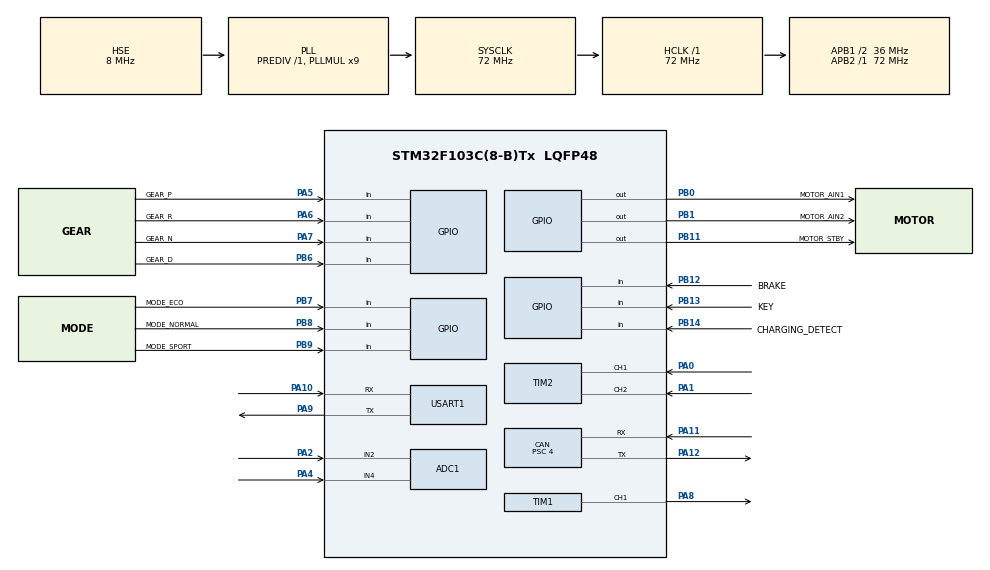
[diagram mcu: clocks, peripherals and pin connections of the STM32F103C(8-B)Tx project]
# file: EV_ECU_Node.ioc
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ADC1.Channel-0\#ChannelRegularConversion=ADC_CHANNEL_4
ADC1.Channel-1\#ChannelRegularConversion=ADC_CHANNEL_2
ADC1.ContinuousConvMode=ENABLE
ADC1.NbrOfConversion=2
ADC1.NbrOfConversionFlag=1
ADC1.Rank-0\#ChannelRegularConversion=1
ADC1.Rank-1\#ChannelRegularConversion=2
ADC1.SamplingTime-0\#ChannelRegularConversion=ADC_SAMPLETIME_71CYCLES_5
ADC1.SamplingTime-1\#ChannelRegularConversion=ADC_SAMPLETIME_71CYCLES_5
ADC1.master=1
CAN.BS1=CAN_BS1_15TQ
CAN.BS2=CAN_BS2_2TQ
CAN.CalculateBaudRate=500000
CAN.CalculateTimeBit=2000
CAN.CalculateTimeQuantum=111.11111111111111
CAN.Prescaler=4
Dma.ADC1.0.Direction=DMA_PERIPH_TO_MEMORY
Dma.ADC1.0.Instance=DMA1_Channel1
Dma.ADC1.0.MemDataAlignment=DMA_MDATAALIGN_HALFWORD
Dma.ADC1.0.MemInc=DMA_MINC_ENABLE
Dma.ADC1.0.Mode=DMA_CIRCULAR
Dma.ADC1.0.PeriphDataAlignment=DMA_PDATAALIGN_HALFWORD
Dma.ADC1.0.PeriphInc=DMA_PINC_DISABLE
Dma.ADC1.0.Priority=DMA_PRIORITY_LOW
Dma.Request0=ADC1
FREERTOS.Tasks01=defaultTask,24,128,StartDefaultTask,Default,NULL,Dynamic,NULL,NULL
FREERTOS.configCHECK_FOR_STACK_OVERFLOW=2
FREERTOS.configTOTAL_HEAP_SIZE=10240
FREERTOS.configUSE_NEWLIB_REENTRANT=1
Mcu.Family=STM32F1
Mcu.Name=STM32F103C(8-B)Tx
Mcu.Package=LQFP48
NVIC.DMA1_Channel1_IRQn=true\:5\:0\:false\:false\:true\:true\:false\:true\:true
NVIC.PriorityGroup=NVIC_PRIORITYGROUP_4
NVIC.TIM3_IRQn=true\:15\:0\:false\:false\:true\:false\:false\:true\:true
NVIC.TimeBase=TIM3_IRQn
NVIC.TimeBaseIP=TIM3
NVIC.USB_HP_CAN1_TX_IRQn=true\:5\:0\:false\:false\:true\:true\:true\:true\:true
NVIC.USB_LP_CAN1_RX0_IRQn=true\:5\:0\:false\:false\:true\:true\:true\:true\:true
PA0-WKUP.Signal=S_TIM2_CH1_ETR
PA1.Signal=S_TIM2_CH2
PA10.Mode=Asynchronous
PA10.Signal=USART1_RX
PA11.Mode=CAN_Activate
PA11.Signal=CAN_RX
PA12.Mode=CAN_Activate
PA12.Signal=CAN_TX
PA13.Mode=Serial_Wire
PA13.Signal=SYS_JTMS-SWDIO
PA14.Mode=Serial_Wire
PA14.Signal=SYS_JTCK-SWCLK
PA2.Signal=ADCx_IN2
PA4.Signal=ADCx_IN4
PA5.GPIO_Label=GEAR_P
PA5.GPIO_PuPd=GPIO_PULLUP
PA5.Signal=GPIO_Input
PA6.GPIO_Label=GEAR_R
PA6.GPIO_PuPd=GPIO_PULLUP
PA6.Signal=GPIO_Input
PA7.GPIO_Label=GEAR_N
PA7.GPIO_PuPd=GPIO_PULLUP
PA7.Signal=GPIO_Input
PA8.Signal=S_TIM1_CH1
PA9.Mode=Asynchronous
PA9.Signal=USART1_TX
PB0.GPIO_Label=MOTOR_AIN1
PB0.Signal=GPIO_Output
PB1.GPIO_Label=MOTOR_AIN2
PB1.Signal=GPIO_Output
PB11.GPIO_Label=MOTOR_STBY
PB11.Signal=GPIO_Output
PB12.GPIO_Label=BRAKE
PB12.GPIO_PuPd=GPIO_PULLUP
PB12.Signal=GPIO_Input
PB13.GPIO_Label=KEY
PB13.GPIO_PuPd=GPIO_PULLUP
PB13.Signal=GPIO_Input
PB14.GPIO_Label=CHARGING_DETECT
PB14.GPIO_PuPd=GPIO_PULLUP
PB14.Signal=GPIO_Input
PB6.GPIO_Label=GEAR_D
PB6.GPIO_PuPd=GPIO_PULLUP
PB6.Signal=GPIO_Input
PB7.GPIO_Label=MODE_ECO
PB7.GPIO_PuPd=GPIO_PULLUP
PB7.Signal=GPIO_Input
PB8.GPIO_Label=MODE_NORMAL
PB8.GPIO_PuPd=GPIO_PULLUP
PB8.Signal=GPIO_Input
PB9.GPIO_Label=MODE_SPORT
PB9.GPIO_PuPd=GPIO_PULLUP
PB9.Signal=GPIO_Input
PD0-OSC_IN.Mode=HSE-External-Oscillator
PD0-OSC_IN.Signal=RCC_OSC_IN
PD1-OSC_OUT.Mode=HSE-External-Oscillator
PD1-OSC_OUT.Signal=RCC_OSC_OUT
ProjectManager.HeapSize=0x200
ProjectManager.StackSize=0x400
ProjectManager.TargetToolchain=STM32CubeIDE
RCC.ADCPresc=RCC_ADCPCLK2_DIV6
RCC.AHBFreq_Value=72000000
RCC.APB1CLKDivider=RCC_HCLK_DIV2
RCC.APB1Freq_Value=36000000
RCC.APB1TimFreq_Value=72000000
RCC.APB2Freq_Value=72000000
RCC.APB2TimFreq_Value=72000000
RCC.HCLKFreq_Value=72000000
RCC.PLLMUL=RCC_PLL_MUL9
RCC.PLLSourceVirtual=RCC_PLLSOURCE_HSE
RCC.SYSCLKFreq_VALUE=72000000
RCC.SYSCLKSource=RCC_SYSCLKSOURCE_PLLCLK
RCC.USBFreq_Value=72000000
SH.ADCx_IN2.0=ADC1_IN2,IN2
SH.ADCx_IN4.0=ADC1_IN4,IN4
SH.S_TIM1_CH1.0=TIM1_CH1,PWM Generation1 CH1
SH.S_TIM2_CH1_ETR.0=TIM2_CH1,Encoder_Interface
SH.S_TIM2_CH2.0=TIM2_CH2,Encoder_Interface
TIM1.Channel-PWM\ Generation1\ CH1=TIM_CHANNEL_1
TIM1.Period=999
TIM1.Prescaler=71
TIM2.EncoderMode=TIM_ENCODERMODE_TI12
TIM2.IC1Filter=4
TIM2.IC2Filter=4
USART1.VirtualMode=VM_ASYNC
VP_FREERTOS_VS_CMSIS_V2.Mode=CMSIS_V2
VP_SYS_VS_tim3.Mode=TIM3
VP_TIM1_VS_ClockSourceINT.Mode=Internal
board=custom

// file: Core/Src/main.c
/* USER CODE BEGIN Header */
/**
  ******************************************************************************
  * @file           : main.c
  * @brief          : Main program body
  *********************************************
  *********************************
  * @attention
  *
  * Copyright (c) 2026 STMicroelectronics.
  * All rights reserved.
  *
  * This software is licensed under terms that can be found in the LICENSE file
  * in the root directory of this software component.
  * If no LICENSE file comes with this software, it is provided AS-IS.
  *
  ******************************************************************************
  */
/* USER CODE END Header */
#include "main.h"
#include "cmsis_os.h"

/* USER CODE BEGIN Includes */
#include <string.h>
#include <stdio.h>
#include "app_config.h"
#include "input_manager.h"
#include "motor_control.h"
#include "battery_manager.h"
#include "can_handler.h"
#include "ecu_data.h"
/* USER CODE END Includes */

ADC_HandleTypeDef hadc1;
DMA_HandleTypeDef hdma_adc1;

CAN_HandleTypeDef hcan;

TIM_HandleTypeDef htim1;
TIM_HandleTypeDef htim2;

UART_HandleTypeDef huart1;

/* Definitions for defaultTask */
osThreadId_t defaultTaskHandle;
const osThreadAttr_t defaultTask_attributes = {
  .name = "defaultTask",
  .stack_size = 512 * 4,
  .priority = (osPriority_t) osPriorityNormal,
};

void SystemClock_Config(void);
static void MX_GPIO_Init(void);
static void MX_DMA_Init(void);
static void MX_ADC1_Init(void);
static void MX_USART1_UART_Init(void);
static void MX_CAN_Init(void);
static void MX_TIM1_Init(void);
static void MX_TIM2_Init(void);
void StartDefaultTask(void *argument);

/* USER CODE BEGIN PFP */
void App_Init(void);
/* USER CODE END PFP */

int main(void)
{

  /* MCU Configuration--------------------------------------------------------*/

  /* Reset of all peripherals, Initializes the Flash interface and the Systick. */
  HAL_Init();

  /* Configure the system clock */
  SystemClock_Config();

  /* Initialize all configured peripherals */
  MX_GPIO_Init();
  MX_DMA_Init();
  MX_ADC1_Init();
  MX_USART1_UART_Init();
  MX_CAN_Init();
  MX_TIM1_Init();
  MX_TIM2_Init();
  /* USER CODE BEGIN 2 */
  /* Clear Debug Freeze bit — cho phép CAN hoạt động khi debugger connected
   * DBF=1 (default khi debug) sẽ freeze CAN peripheral → HAL_CAN_Start fail */
  CAN1->MCR &= ~CAN_MCR_DBF;
  HAL_Delay(10);

  if (HAL_CAN_Start(&hcan) == HAL_OK)
  {
      HAL_UART_Transmit(&huart1,
          (uint8_t*)"[CAN] Start OK\r\n", 16, 100);
  }
  else
  {
      HAL_UART_Transmit(&huart1,
          (uint8_t*)"[CAN] Start FAILED\r\n", 20, 100);
  }
  /* USER CODE END 2 */

  /* Init scheduler */
  osKernelInitialize();

  /* Create the thread(s) */
  /* creation of defaultTask */
  defaultTaskHandle = osThreadNew(StartDefaultTask, NULL, &defaultTask_attributes);

  /* Start scheduler */
  osKernelStart();

  /* We should never get here as control is now taken by the scheduler */

  /* Infinite loop */
  while (1)
  {

  }
}

void SystemClock_Config(void)
{
  RCC_OscInitTypeDef RCC_OscInitStruct = {0};
  RCC_ClkInitTypeDef RCC_ClkInitStruct = {0};
  RCC_PeriphCLKInitTypeDef PeriphClkInit = {0};

  /** Initializes the RCC Oscillators according to the specified parameters
  * in the RCC_OscInitTypeDef structure.
  */
  RCC_OscInitStruct.OscillatorType = RCC_OSCILLATORTYPE_HSE;
  RCC_OscInitStruct.HSEState = RCC_HSE_ON;
  RCC_OscInitStruct.HSEPredivValue = RCC_HSE_PREDIV_DIV1;
  RCC_OscInitStruct.HSIState = RCC_HSI_ON;
  RCC_OscInitStruct.PLL.PLLState = RCC_PLL_ON;
  RCC_OscInitStruct.PLL.PLLSource = RCC_PLLSOURCE_HSE;
  RCC_OscInitStruct.PLL.PLLMUL = RCC_PLL_MUL9;
  if (HAL_RCC_OscConfig(&RCC_OscInitStruct) != HAL_OK)
  {
    Error_Handler();
  }

  /** Initializes the CPU, AHB and APB buses clocks
  */
  RCC_ClkInitStruct.ClockType = RCC_CLOCKTYPE_HCLK|RCC_CLOCKTYPE_SYSCLK
                              |RCC_CLOCKTYPE_PCLK1|RCC_CLOCKTYPE_PCLK2;
  RCC_ClkInitStruct.SYSCLKSource = RCC_SYSCLKSOURCE_PLLCLK;
  RCC_ClkInitStruct.AHBCLKDivider = RCC_SYSCLK_DIV1;
  RCC_ClkInitStruct.APB1CLKDivider = RCC_HCLK_DIV2;
  RCC_ClkInitStruct.APB2CLKDivider = RCC_HCLK_DIV1;

  if (HAL_RCC_ClockConfig(&RCC_ClkInitStruct, FLASH_LATENCY_2) != HAL_OK)
  {
    Error_Handler();
  }
  PeriphClkInit.PeriphClockSelection = RCC_PERIPHCLK_ADC;
  PeriphClkInit.AdcClockSelection = RCC_ADCPCLK2_DIV6;
  if (HAL_RCCEx_PeriphCLKConfig(&PeriphClkInit) != HAL_OK)
  {
    Error_Handler();
  }
}

static void MX_ADC1_Init(void)
{

  ADC_ChannelConfTypeDef sConfig = {0};

  /** Common config
  */
  hadc1.Instance = ADC1;
  hadc1.Init.ScanConvMode = ADC_SCAN_ENABLE;
  hadc1.Init.ContinuousConvMode = ENABLE;
  hadc1.Init.DiscontinuousConvMode = DISABLE;
  hadc1.Init.ExternalTrigConv = ADC_SOFTWARE_START;
  hadc1.Init.DataAlign = ADC_DATAALIGN_RIGHT;
  hadc1.Init.NbrOfConversion = 2;
  if (HAL_ADC_Init(&hadc1) != HAL_OK)
  {
    Error_Handler();
  }

  /** Configure Regular Channel
  */
  sConfig.Channel = ADC_CHANNEL_4;
  sConfig.Rank = ADC_REGULAR_RANK_1;
  sConfig.SamplingTime = ADC_SAMPLETIME_71CYCLES_5;
  if (HAL_ADC_ConfigChannel(&hadc1, &sConfig) != HAL_OK)
  {
    Error_Handler();
  }

  /** Configure Regular Channel
  */
  sConfig.Channel = ADC_CHANNEL_2;
  sConfig.Rank = ADC_REGULAR_RANK_2;
  if (HAL_ADC_ConfigChannel(&hadc1, &sConfig) != HAL_OK)
  {
    Error_Handler();
  }

}

static void MX_CAN_Init(void)
{

  hcan.Instance = CAN1;
  hcan.Init.Prescaler = 4;
  hcan.Init.Mode = CAN_MODE_NORMAL;
  hcan.Init.SyncJumpWidth = CAN_SJW_1TQ;
  hcan.Init.TimeSeg1 = CAN_BS1_15TQ;
  hcan.Init.TimeSeg2 = CAN_BS2_2TQ;
  hcan.Init.TimeTriggeredMode = DISABLE;
  hcan.Init.AutoBusOff = ENABLE;
  hcan.Init.AutoWakeUp = DISABLE;
  hcan.Init.AutoRetransmission = ENABLE;
  hcan.Init.ReceiveFifoLocked = DISABLE;
  hcan.Init.TransmitFifoPriority = DISABLE;
  if (HAL_CAN_Init(&hcan) != HAL_OK)
  {
    Error_Handler();
  }

}

static void MX_TIM1_Init(void)
{

  TIM_ClockConfigTypeDef sClockSourceConfig = {0};
  TIM_MasterConfigTypeDef sMasterConfig = {0};
  TIM_OC_InitTypeDef sConfigOC = {0};
  TIM_BreakDeadTimeConfigTypeDef sBreakDeadTimeConfig = {0};

  htim1.Instance = TIM1;
  htim1.Init.Prescaler = 71;
  htim1.Init.CounterMode = TIM_COUNTERMODE_UP;
  htim1.Init.Period = 999;
  htim1.Init.ClockDivision = TIM_CLOCKDIVISION_DIV1;
  htim1.Init.RepetitionCounter = 0;
  htim1.Init.AutoReloadPreload = TIM_AUTORELOAD_PRELOAD_DISABLE;
  if (HAL_TIM_Base_Init(&htim1) != HAL_OK)
  {
    Error_Handler();
  }
  sClockSourceConfig.ClockSource = TIM_CLOCKSOURCE_INTERNAL;
  if (HAL_TIM_ConfigClockSource(&htim1, &sClockSourceConfig) != HAL_OK)
  {
    Error_Handler();
  }
  if (HAL_TIM_PWM_Init(&htim1) != HAL_OK)
  {
    Error_Handler();
  }
  sMasterConfig.MasterOutputTrigger = TIM_TRGO_RESET;
  sMasterConfig.MasterSlaveMode = TIM_MASTERSLAVEMODE_DISABLE;
  if (HAL_TIMEx_MasterConfigSynchronization(&htim1, &sMasterConfig) != HAL_OK)
  {
    Error_Handler();
  }
  sConfigOC.OCMode = TIM_OCMODE_PWM1;
  sConfigOC.Pulse = 0;
  sConfigOC.OCPolarity = TIM_OCPOLARITY_HIGH;
  sConfigOC.OCNPolarity = TIM_OCNPOLARITY_HIGH;
  sConfigOC.OCFastMode = TIM_OCFAST_DISABLE;
  sConfigOC.OCIdleState = TIM_OCIDLESTATE_RESET;
  sConfigOC.OCNIdleState = TIM_OCNIDLESTATE_RESET;
  if (HAL_TIM_PWM_ConfigChannel(&htim1, &sConfigOC, TIM_CHANNEL_1) != HAL_OK)
  {
    Error_Handler();
  }
  sBreakDeadTimeConfig.OffStateRunMode = TIM_OSSR_DISABLE;
  sBreakDeadTimeConfig.OffStateIDLEMode = TIM_OSSI_DISABLE;
  sBreakDeadTimeConfig.LockLevel = TIM_LOCKLEVEL_OFF;
  sBreakDeadTimeConfig.DeadTime = 0;
  sBreakDeadTimeConfig.BreakState = TIM_BREAK_DISABLE;
  sBreakDeadTimeConfig.BreakPolarity = TIM_BREAKPOLARITY_HIGH;
  sBreakDeadTimeConfig.AutomaticOutput = TIM_AUTOMATICOUTPUT_DISABLE;
  if (HAL_TIMEx_ConfigBreakDeadTime(&htim1, &sBreakDeadTimeConfig) != HAL_OK)
  {
    Error_Handler();
  }
  HAL_TIM_MspPostInit(&htim1);

}

static void MX_TIM2_Init(void)
{

  TIM_Encoder_InitTypeDef sConfig = {0};
  TIM_MasterConfigTypeDef sMasterConfig = {0};

  htim2.Instance = TIM2;
  htim2.Init.Prescaler = 0;
  htim2.Init.CounterMode = TIM_COUNTERMODE_UP;
  htim2.Init.Period = 65535;
  htim2.Init.ClockDivision = TIM_CLOCKDIVISION_DIV1;
  htim2.Init.AutoReloadPreload = TIM_AUTORELOAD_PRELOAD_DISABLE;
  sConfig.EncoderMode = TIM_ENCODERMODE_TI12;
  sConfig.IC1Polarity = TIM_ICPOLARITY_RISING;
  sConfig.IC1Selection = TIM_ICSELECTION_DIRECTTI;
  sConfig.IC1Prescaler = TIM_ICPSC_DIV1;
  sConfig.IC1Filter = 4;
  sConfig.IC2Polarity = TIM_ICPOLARITY_RISING;
  sConfig.IC2Selection = TIM_ICSELECTION_DIRECTTI;
  sConfig.IC2Prescaler = TIM_ICPSC_DIV1;
  sConfig.IC2Filter = 4;
  if (HAL_TIM_Encoder_Init(&htim2, &sConfig) != HAL_OK)
  {
    Error_Handler();
  }
  sMasterConfig.MasterOutputTrigger = TIM_TRGO_RESET;
  sMasterConfig.MasterSlaveMode = TIM_MASTERSLAVEMODE_DISABLE;
  if (HAL_TIMEx_MasterConfigSynchronization(&htim2, &sMasterConfig) != HAL_OK)
  {
    Error_Handler();
  }

}

static void MX_USART1_UART_Init(void)
{

  huart1.Instance = USART1;
  huart1.Init.BaudRate = 115200;
  huart1.Init.WordLength = UART_WORDLENGTH_8B;
  huart1.Init.StopBits = UART_STOPBITS_1;
  huart1.Init.Parity = UART_PARITY_NONE;
  huart1.Init.Mode = UART_MODE_TX_RX;
  huart1.Init.HwFlowCtl = UART_HWCONTROL_NONE;
  huart1.Init.OverSampling = UART_OVERSAMPLING_16;
  if (HAL_UART_Init(&huart1) != HAL_OK)
  {
    Error_Handler();
  }

}

static void MX_DMA_Init(void)
{

  /* DMA controller clock enable */
  __HAL_RCC_DMA1_CLK_ENABLE();

  /* DMA interrupt init */
  /* DMA1_Channel1_IRQn interrupt configuration */
  HAL_NVIC_SetPriority(DMA1_Channel1_IRQn, 5, 0);
  HAL_NVIC_EnableIRQ(DMA1_Channel1_IRQn);

}

static void MX_GPIO_Init(void)
{
  GPIO_InitTypeDef GPIO_InitStruct = {0};

  /* GPIO Ports Clock Enable */
  __HAL_RCC_GPIOD_CLK_ENABLE();
  __HAL_RCC_GPIOA_CLK_ENABLE();
  __HAL_RCC_GPIOB_CLK_ENABLE();

  /*Configure GPIO pin Output Level */
  HAL_GPIO_WritePin(GPIOB, MOTOR_AIN1_PIN|MOTOR_AIN2_PIN|MOTOR_STBY_PIN, GPIO_PIN_RESET);

  /*Configure GPIO pins : GEAR_P_Pin GEAR_R_Pin GEAR_N_Pin */
  GPIO_InitStruct.Pin = GEAR_P_PIN|GEAR_R_PIN|GEAR_N_PIN;
  GPIO_InitStruct.Mode = GPIO_MODE_INPUT;
  GPIO_InitStruct.Pull = GPIO_PULLUP;
  HAL_GPIO_Init(GPIOA, &GPIO_InitStruct);

  /*Configure GPIO pins : MOTOR_AIN1_Pin MOTOR_AIN2_Pin MOTOR_STBY_Pin */
  GPIO_InitStruct.Pin = MOTOR_AIN1_PIN|MOTOR_AIN2_PIN|MOTOR_STBY_PIN;
  GPIO_InitStruct.Mode = GPIO_MODE_OUTPUT_PP;
  GPIO_InitStruct.Pull = GPIO_NOPULL;
  GPIO_InitStruct.Speed = GPIO_SPEED_FREQ_LOW;
  HAL_GPIO_Init(GPIOB, &GPIO_InitStruct);

  /*Configure GPIO pins : BRAKE_Pin KEY_Pin CHARGING_DETECT_Pin GEAR_D_Pin
                           MODE_ECO_Pin MODE_NORMAL_Pin MODE_SPORT_Pin */
  GPIO_InitStruct.Pin = BRAKE_PIN|KEY_PIN|CHARGING_PIN|GEAR_D_PIN
                          |MODE_ECO_PIN|MODE_NORMAL_PIN|MODE_SPORT_PIN;
  GPIO_InitStruct.Mode = GPIO_MODE_INPUT;
  GPIO_InitStruct.Pull = GPIO_PULLUP;
  HAL_GPIO_Init(GPIOB, &GPIO_InitStruct);

}

/* USER CODE BEGIN 4 */
int __io_putchar(int ch)
{
    HAL_UART_Transmit(&DEBUG_UART, (uint8_t *)&ch, 1U, 100U);
    return ch;
}

void App_Init(void)
{
    /* --- 1. Khởi tạo global data TRƯỚC mọi task --- */
    EcuData_Init();

    printf("\r\n=============================\r\n");
    printf("  EV ECU Node - Firmware v1.0\r\n");
    printf("  STM32F103C8T6 @ 72MHz\r\n");
    printf("  FreeRTOS + CAN 500kbps\r\n");
    printf("=============================\r\n\r\n");

    /* --- 2. Khởi tạo modules --- */
    InputManager_Init();
    MotorControl_Init();
    BatteryManager_Init();
    CANHandler_Init();

    printf("[INIT] All modules initialized\r\n");
    printf("[INIT] Creating tasks...\r\n");

    /* --- 3. Tạo tasks với kiểm tra lỗi --- */
    osThreadId_t h;

    const osThreadAttr_t attr_input = {
        .name       = "InputScan",
        .stack_size = STACK_SIZE_INPUT * 4U,
        .priority   = (osPriority_t)osPriorityNormal
    };
    h = osThreadNew(Task_InputScan, NULL, &attr_input);
    if (h == NULL) { printf("[ERR] InputScan FAILED\r\n"); }

    const osThreadAttr_t attr_motor = {
        .name       = "MotorCtrl",
        .stack_size = STACK_SIZE_MOTOR * 4U,
        .priority   = (osPriority_t)osPriorityAboveNormal
    };
    h = osThreadNew(Task_MotorControl, NULL, &attr_motor);
    if (h == NULL) { printf("[ERR] MotorCtrl FAILED\r\n"); }

    const osThreadAttr_t attr_batt = {
        .name       = "BattMgr",
        .stack_size = STACK_SIZE_BATTERY * 4U,
        .priority   = (osPriority_t)osPriorityBelowNormal
    };
    h = osThreadNew(Task_BatteryManager, NULL, &attr_batt);
    if (h == NULL) { printf("[ERR] BattMgr FAILED\r\n"); }

    const osThreadAttr_t attr_can_tx = {
        .name       = "CANTx",
        .stack_size = STACK_SIZE_CAN_TX * 4U,
        .priority   = (osPriority_t)osPriorityBelowNormal
    };
    h = osThreadNew(Task_CANTransmit, NULL, &attr_can_tx);
    if (h == NULL) { printf("[ERR] CANTx FAILED\r\n"); }

    const osThreadAttr_t attr_can_rx = {
        .name       = "CANRx",
        .stack_size = STACK_SIZE_CAN_RX * 4U,
        .priority   = (osPriority_t)osPriorityNormal
    };
    h = osThreadNew(Task_CANReceive, NULL, &attr_can_rx);
    if (h == NULL) { printf("[ERR] CANRx FAILED\r\n"); }

    printf("[INIT] All tasks created - Scheduler starting\r\n\r\n");
}
/* USER CODE END 4 */

void StartDefaultTask(void *argument)
{
	/* USER CODE BEGIN 5 */
    App_Init();
    osThreadExit();
    /* USER CODE END 5 */
}

void HAL_TIM_PeriodElapsedCallback(TIM_HandleTypeDef *htim)
{
  if (htim->Instance == TIM3)
  {
    HAL_IncTick();
  }
}

void Error_Handler(void)
{
  __disable_irq();
  while (1)
  {
  }
}
